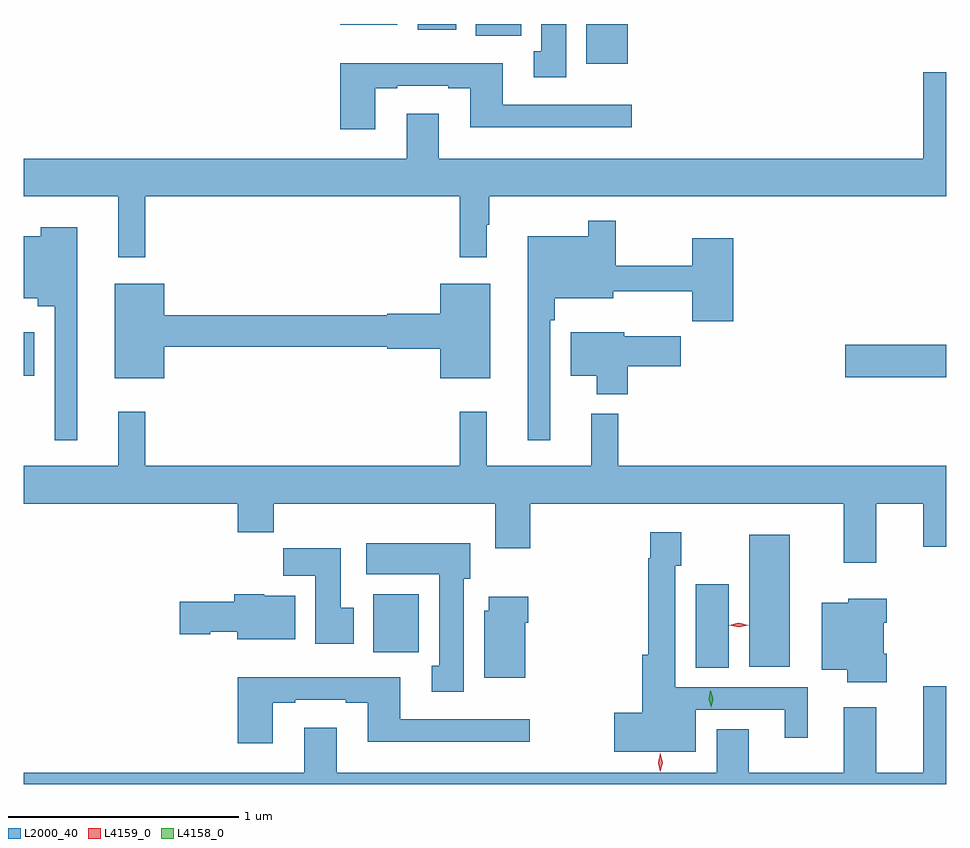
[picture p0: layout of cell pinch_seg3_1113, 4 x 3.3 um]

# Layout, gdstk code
import gdstk
lib = gdstk.Library(unit=1e-6, precision=1e-09)
def R(c, l, rs):  # rectangles x0, y0, x1, y1
    for r in rs: c.add(gdstk.rectangle(r[:2], r[2:], *l))
def P(c, l, *ps):  # polygons
    for p in ps: c.add(gdstk.Polygon(p, *l))
L2000_40 = (2000, 40)
L4158_0 = (4158, 0)
L4159_0 = (4159, 0)

pinch_seg3_1113 = lib.new_cell('pinch_seg3_1113')
R(pinch_seg3_1113, L2000_40, [(187.997,666.904,188.14,667.267), (188.228,666.908,188.404,667.48), (186.599,666.972,186.795,667.222), (188.646,668.164,189.083,668.306), (185.083,668.171,185.128,668.359), (187.523,669.524,187.702,669.696), (187.043,669.644,187.24,669.696), (186.791,669.672,186.958,669.696), (186.456,669.692,186.703,669.696)])
P(pinch_seg3_1113, L2000_40, [(187.435,669.696),(187.328,669.696),(187.328,669.578),(187.295,669.578),(187.295,669.465),(187.435,669.465)],
  [(186.607,669.417),(186.703,669.417),(186.703,669.429),(186.923,669.429),(186.923,669.417),(187.019,669.417),(187.019,669.248),(187.72,669.248),(187.72,669.345),(187.159,669.345),(187.159,669.526),(186.455,669.526),(186.455,669.24),(186.607,669.24)],
  [(185.609,668.948),(186.973,668.948),(186.973,668.685),(187.09,668.685),(187.09,668.825),(187.102,668.825),(187.102,668.948),(189.083,668.948),(189.083,669.487),(188.984,669.487),(188.984,669.112),(186.883,669.112),(186.883,669.307),(186.743,669.307),(186.743,669.112),(185.083,669.112),(185.083,668.948),(185.492,668.948),(185.492,668.685),(185.609,668.685)],
  [(187.365,668.411),(187.385,668.411),(187.385,668.507),(187.639,668.507),(187.639,668.537),(187.981,668.537),(187.981,668.406),(188.159,668.406),(188.159,668.767),(187.981,668.767),(187.981,668.647),(187.651,668.647),(187.651,668.842),(187.53,668.842),(187.53,668.776),(187.268,668.776),(187.268,667.89),(187.365,667.89)],
  [(185.314,668.815),(185.156,668.815),(185.156,668.776),(185.083,668.776),(185.083,668.507),(185.144,668.507),(185.144,668.471),(185.217,668.471),(185.217,667.89),(185.314,667.89)],
  [(185.692,668.296),(186.66,668.296),(186.66,668.288),(186.89,668.288),(186.89,668.159),(187.105,668.159),(187.105,668.569),(186.89,668.569),(186.89,668.44),(186.66,668.44),(186.66,668.432),(185.692,668.432),(185.692,668.569),(185.477,668.569),(185.477,668.159),(185.692,668.159)],
  [(187.703,668.212),(187.933,668.212),(187.933,668.341),(187.686,668.341),(187.686,668.359),(187.454,668.359),(187.454,668.171),(187.568,668.171),(187.568,668.09),(187.703,668.09)],
  [(188.779,667.616),(188.984,667.616),(188.984,667.428),(189.083,667.428),(189.083,667.78),(187.661,667.78),(187.661,668.005),(187.544,668.005),(187.544,667.78),(187.091,667.78),(187.091,668.014),(186.973,668.014),(186.973,667.78),(185.609,667.78),(185.609,668.014),(185.492,668.014),(185.492,667.78),(185.083,667.78),(185.083,667.616),(186.011,667.616),(186.011,667.492),(186.167,667.492),(186.167,667.616),(187.127,667.616),(187.127,667.422),(187.28,667.422),(187.28,667.616),(188.639,667.616),(188.639,667.359),(188.779,667.359)],
  [(187.996,666.723),(188.384,666.723),(188.384,666.6),(188.482,666.6),(188.482,666.819),(187.908,666.819),(187.908,667.347),(187.935,667.347),(187.935,667.492),(187.8,667.492),(187.8,667.379),(187.792,667.379),(187.792,666.961),(187.766,666.961),(187.766,666.71),(187.644,666.71),(187.644,666.539),(187.996,666.539)],
  [(186.991,667.29),(187.018,667.29),(187.018,667.444),(186.567,667.444),(186.567,667.31),(186.884,667.31),(186.884,666.913),(186.851,666.913),(186.851,666.801),(186.991,666.801)],
  [(186.514,667.164),(186.457,667.164),(186.457,667.423),(186.208,667.423),(186.208,667.304),(186.347,667.304),(186.347,667.008),(186.514,667.008)],
  [(186.259,667.216),(186.126,667.216),(186.126,667.222),(185.996,667.222),(185.996,667.191),(185.76,667.191),(185.76,667.049),(185.892,667.049),(185.892,667.061),(186.008,667.061),(186.008,667.028),(186.259,667.028)],
  [(187.258,667.1),(187.271,667.1),(187.271,667.213),(187.1,667.213),(187.1,667.152),(187.079,667.152),(187.079,666.86),(187.258,666.86)],
  [(188.825,666.964),(188.812,666.964),(188.812,667.1),(188.825,667.1),(188.825,667.204),(188.658,667.204),(188.658,667.186),(188.543,667.186),(188.543,666.896),(188.654,666.896),(188.654,666.842),(188.825,666.842)],
  [(186.163,666.753),(186.259,666.753),(186.259,666.765),(186.479,666.765),(186.479,666.753),(186.575,666.753),(186.575,666.584),(187.276,666.584),(187.276,666.681),(186.715,666.681),(186.715,666.862),(186.011,666.862),(186.011,666.576),(186.163,666.576)],
  [(189.083,666.823),(188.984,666.823),(188.984,666.448),(188.779,666.448),(188.779,666.733),(188.639,666.733),(188.639,666.448),(188.227,666.448),(188.227,666.638),(188.087,666.638),(188.087,666.448),(186.439,666.448),(186.439,666.643),(186.299,666.643),(186.299,666.448),(185.083,666.448),(185.083,666.4),(189.083,666.4)])
P(pinch_seg3_1113, L4158_0, [(188.065,666.732),(188.065,666.732),(188.053,666.768),(188.06,666.804),(188.061,666.804),(188.061,666.804),(188.073,666.769),(188.065,666.732)])
P(pinch_seg3_1113, L4159_0, [(188.183,667.079),(188.143,667.088),(188.143,667.089),(188.143,667.089),(188.183,667.099),(188.224,667.089),(188.224,667.089),(188.224,667.088)],
  [(187.844,666.453),(187.844,666.453),(187.834,666.493),(187.844,666.533),(187.844,666.533),(187.844,666.533),(187.854,666.493),(187.844,666.453)])

lib.write_gds('pinch_seg3_1113.gds')
